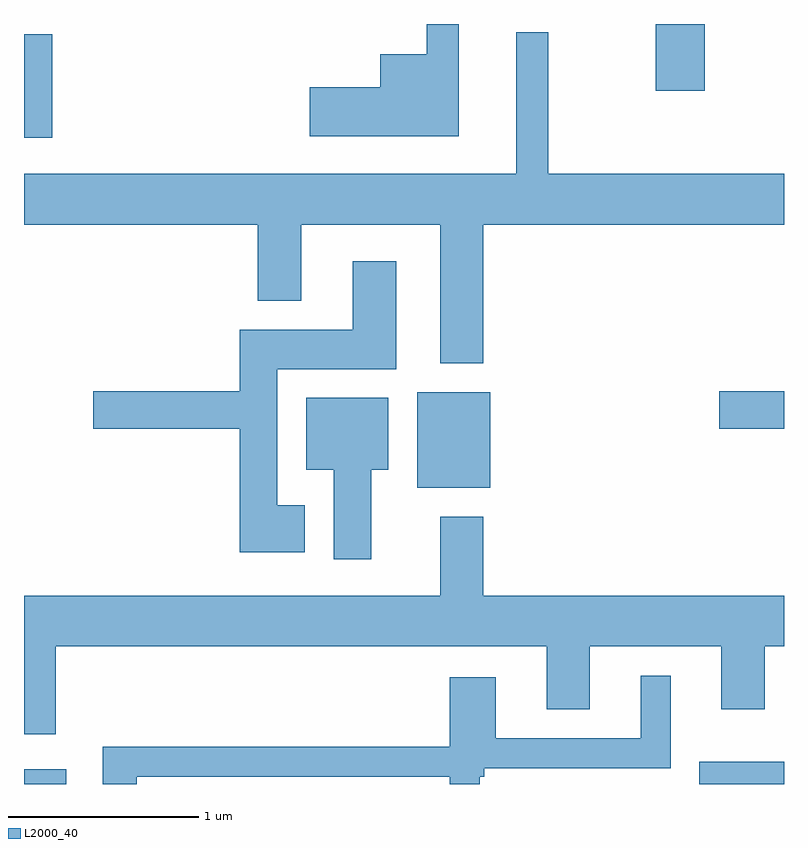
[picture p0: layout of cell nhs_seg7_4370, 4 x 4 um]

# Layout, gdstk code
import gdstk
lib = gdstk.Library(unit=1e-6, precision=1e-09)
def R(c, l, rs):  # rectangles x0, y0, x1, y1
    for r in rs: c.add(gdstk.rectangle(r[:2], r[2:], *l))
def P(c, l, *ps):  # polygons
    for p in ps: c.add(gdstk.Polygon(p, *l))
L2000_40 = (2000, 40)

nhs_seg7_4370 = lib.new_cell('nhs_seg7_4370')
R(nhs_seg7_4370, L2000_40, [(319.611,1720.252,319.834,1720.329), (323.166,1720.252,323.611,1720.369), (321.681,1721.811,322.064,1722.314), (323.271,1722.121,323.611,1722.319), (319.611,1723.653,319.759,1724.199), (322.936,1723.901,323.194,1724.252)])
P(nhs_seg7_4370, L2000_40, [(321.899,1724.252),(321.731,1724.252),(321.731,1724.094),(321.486,1724.094),(321.486,1723.919),(321.116,1723.919),(321.116,1723.661),(321.899,1723.661)],
  [(322.029,1723.196),(323.611,1723.196),(323.611,1723.464),(322.369,1723.464),(322.369,1724.208),(322.201,1724.208),(322.201,1723.464),(319.611,1723.464),(319.611,1723.196),(320.841,1723.196),(320.841,1722.796),(321.069,1722.796),(321.069,1723.196),(321.801,1723.196),(321.801,1722.466),(322.029,1722.466)],
  [(321.089,1721.719),(320.944,1721.719),(320.944,1722.436),(321.569,1722.436),(321.569,1723.004),(321.341,1723.004),(321.341,1722.644),(320.746,1722.644),(320.746,1722.319),(319.976,1722.319),(319.976,1722.121),(320.746,1722.121),(320.746,1721.471),(321.089,1721.471)],
  [(321.439,1721.906),(321.529,1721.906),(321.529,1722.284),(321.096,1722.284),(321.096,1721.906),(321.241,1721.906),(321.241,1721.436),(321.439,1721.436)],
  [(319.779,1720.976),(322.361,1720.976),(322.361,1720.646),(322.589,1720.646),(322.589,1720.976),(323.281,1720.976),(323.281,1720.646),(323.509,1720.646),(323.509,1720.976),(323.611,1720.976),(323.611,1721.244),(322.029,1721.244),(322.029,1721.659),(321.801,1721.659),(321.801,1721.244),(319.611,1721.244),(319.611,1720.513),(319.779,1720.513)],
  [(320.204,1720.291),(321.851,1720.291),(321.851,1720.252),(322.009,1720.252),(322.009,1720.291),(322.034,1720.291),(322.034,1720.336),(323.014,1720.336),(323.014,1720.823),(322.856,1720.823),(322.856,1720.494),(322.094,1720.494),(322.094,1720.814),(321.851,1720.814),(321.851,1720.449),(320.026,1720.449),(320.026,1720.252),(320.204,1720.252)])

lib.write_gds('nhs_seg7_4370.gds')
